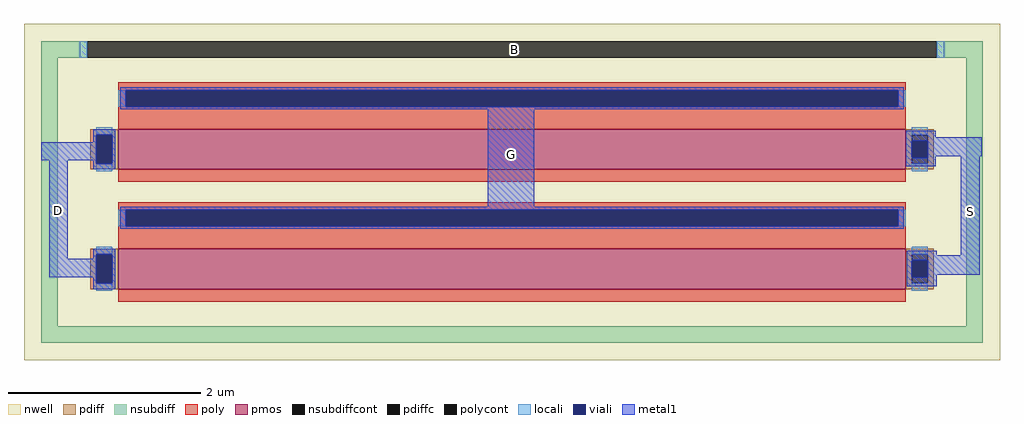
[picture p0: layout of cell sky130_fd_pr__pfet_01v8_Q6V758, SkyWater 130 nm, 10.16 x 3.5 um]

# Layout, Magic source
magic
tech sky130B
magscale 1 2
<< nwell >>
rect -1016 -350 1016 350
<< pmos >>
rect -820 47 820 131
rect -820 -202 820 -118
<< pdiff >>
rect -878 119 -820 131
rect -878 59 -866 119
rect -832 59 -820 119
rect -878 47 -820 59
rect 820 119 878 131
rect 820 59 832 119
rect 866 59 878 119
rect 820 47 878 59
rect -878 -130 -820 -118
rect -878 -190 -866 -130
rect -832 -190 -820 -130
rect -878 -202 -820 -190
rect 820 -130 878 -118
rect 820 -190 832 -130
rect 866 -190 878 -130
rect 820 -202 878 -190
<< pdiffc >>
rect -866 59 -832 119
rect 832 59 866 119
rect -866 -190 -832 -130
rect 832 -190 866 -130
<< nsubdiff >>
rect -980 280 -884 314
rect 884 280 980 314
rect -980 -280 -946 280
rect 946 -280 980 280
rect -980 -314 980 -280
<< nsubdiffcont >>
rect -884 280 884 314
<< poly >>
rect -820 212 820 228
rect -820 178 -804 212
rect 804 178 820 212
rect -820 131 820 178
rect -820 21 820 47
rect -820 -37 820 -21
rect -820 -71 -804 -37
rect 804 -71 820 -37
rect -820 -118 820 -71
rect -820 -228 820 -202
<< polycont >>
rect -804 178 804 212
rect -804 -71 804 -37
<< locali >>
rect -900 280 -884 314
rect 884 280 900 314
rect -820 178 -804 212
rect 804 178 820 212
rect -866 119 -832 135
rect -866 43 -832 59
rect 832 119 866 135
rect 832 43 866 59
rect -820 -71 -804 -37
rect 804 -71 820 -37
rect -866 -130 -832 -114
rect -866 -206 -832 -190
rect 832 -130 866 -114
rect 832 -206 866 -190
<< viali >>
rect -804 178 804 212
rect -866 59 -832 119
rect 832 71 866 107
rect -804 -71 804 -37
rect -866 -190 -832 -130
rect 832 -178 866 -142
<< metal1 >>
rect -816 212 816 218
rect -816 178 -804 212
rect 804 178 816 212
rect -816 172 816 178
rect -872 119 -826 131
rect -872 104 -866 119
rect -980 66 -866 104
rect -963 -139 -925 66
rect -872 59 -866 66
rect -832 59 -826 119
rect -872 47 -826 59
rect -50 -31 46 172
rect 820 114 882 128
rect 820 107 978 114
rect 820 71 832 107
rect 866 74 978 107
rect 866 71 882 74
rect 820 54 882 71
rect -816 -37 816 -31
rect -816 -71 -804 -37
rect 804 -71 816 -37
rect -816 -77 816 -71
rect -872 -130 -826 -118
rect -872 -139 -866 -130
rect -963 -177 -866 -139
rect -872 -190 -866 -177
rect -832 -190 -826 -130
rect -872 -202 -826 -190
rect 822 -132 884 -122
rect 934 -132 974 74
rect 822 -142 974 -132
rect 822 -178 832 -142
rect 866 -172 974 -142
rect 866 -178 884 -172
rect 822 -196 884 -178
<< labels >>
flabel metal1 s -2 78 -2 78 0 FreeSans 320 0 0 0 G
port 0 nsew
flabel metal1 s -944 -38 -944 -38 0 FreeSans 320 0 0 0 D
port 1 nsew
flabel metal1 s 954 -40 954 -40 0 FreeSans 320 0 0 0 S
port 2 nsew
flabel locali s 6 296 6 296 0 FreeSans 320 0 0 0 B
port 4 nsew
<< properties >>
string FIXED_BBOX -963 -297 963 297
string gencell sky130_fd_pr__pfet_01v8
string library sky130
string parameters w 0.42 l 8.2 m 2 nf 1 diffcov 100 polycov 100 guard 1 glc 0 grc 0 gtc 1 gbc 0 tbcov 100 rlcov 100 topc 1 botc 0 poverlap 0 doverlap 1 lmin 0.15 wmin 0.42 compatible {sky130_fd_pr__pfet_01v8  sky130_fd_pr__pfet_01v8_lvt sky130_fd_pr__pfet_01v8_hvt  sky130_fd_pr__pfet_g5v0d10v5} full_metal 0 viasrc 60 viadrn 100 viagate 100 viagb 0 viagr 0 viagl 0 viagt 0
<< end >>
